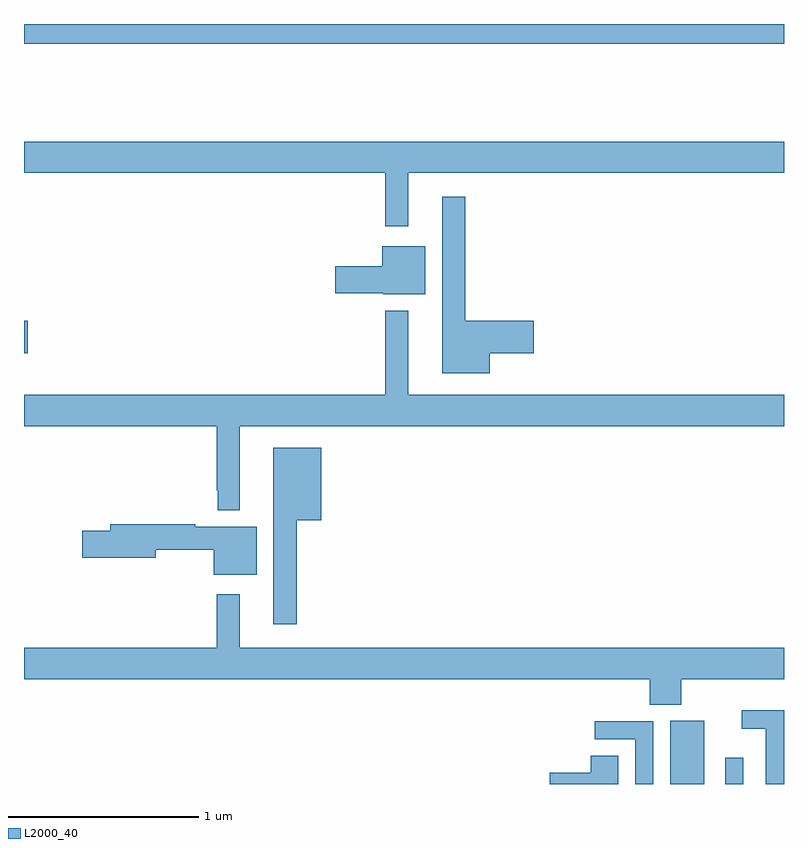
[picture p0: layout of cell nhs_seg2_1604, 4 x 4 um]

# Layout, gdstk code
import gdstk
lib = gdstk.Library(unit=1e-6, precision=1e-09)
def R(c, l, rs):  # rectangles x0, y0, x1, y1
    for r in rs: c.add(gdstk.rectangle(r[:2], r[2:], *l))
def P(c, l, *ps):  # polygons
    for p in ps: c.add(gdstk.Polygon(p, *l))
L2000_40 = (2000, 40)

nhs_seg2_1604 = lib.new_cell('nhs_seg2_1604')
R(nhs_seg2_1604, L2000_40, [(198.401,597.8,198.58,598.132), (198.69,597.8,198.786,597.937), (195,600.068,195.019,600.239), (195,601.696,199,601.8)])
P(nhs_seg2_1604, L2000_40, [(197.023,601.016),(199,601.016),(199,601.18),(195,601.18),(195,601.016),(196.902,601.016),(196.902,600.735),(197.023,600.735)],
  [(197.452,600.068),(197.683,600.068),(197.683,600.239),(197.323,600.239),(197.323,600.892),(197.201,600.892),(197.201,599.963),(197.452,599.963)],
  [(197.113,600.631),(196.886,600.631),(196.886,600.525),(196.638,600.525),(196.638,600.383),(196.89,600.383),(196.89,600.377),(197.113,600.377)],
  [(195,599.684),(196.014,599.684),(196.014,599.347),(196.02,599.347),(196.02,599.24),(196.135,599.24),(196.135,599.684),(199,599.684),(199,599.848),(197.023,599.848),(197.023,600.292),(196.902,600.292),(196.902,599.848),(195,599.848)],
  [(196.435,599.189),(196.564,599.189),(196.564,599.569),(196.313,599.569),(196.313,598.641),(196.435,598.641)],
  [(196.225,599.155),(195.902,599.155),(195.902,599.168),(195.455,599.168),(195.455,599.132),(195.306,599.132),(195.306,598.99),(195.694,598.99),(195.694,599.032),(195.998,599.032),(195.998,598.901),(196.225,598.901)],
  [(198.458,598.352),(199,598.352),(199,598.516),(196.135,598.516),(196.135,598.798),(196.014,598.798),(196.014,598.516),(195,598.516),(195,598.352),(198.293,598.352),(198.293,598.218),(198.458,598.218)],
  [(199,598.189),(198.777,598.189),(198.777,598.091),(198.905,598.091),(198.905,597.8),(199,597.8)],
  [(198.312,598.131),(198.003,598.131),(198.003,598.035),(198.216,598.035),(198.216,597.8),(198.312,597.8)],
  [(198.127,597.95),(197.984,597.95),(197.984,597.86),(197.766,597.86),(197.766,597.8),(198.127,597.8)])

lib.write_gds('nhs_seg2_1604.gds')
